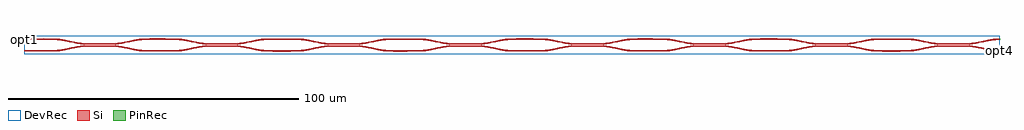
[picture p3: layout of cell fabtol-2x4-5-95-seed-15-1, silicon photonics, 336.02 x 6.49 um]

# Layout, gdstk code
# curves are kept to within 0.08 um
import gdstk
lib = gdstk.Library(unit=1e-6, precision=1e-09)
def R(c, l, rs):  # rectangles x0, y0, x1, y1
    for r in rs: c.add(gdstk.rectangle(r[:2], r[2:], *l))
def P(c, l, *ps):  # polygons
    for p in ps: c.add(gdstk.Polygon(p, *l))
Si = (1, 0)
PinRec = (1, 10)
DevRec = (68, 0)

layer_3_0_phase_sec_1_26 = lib.new_cell('layer-3_0_phase_sec_1$26')
P(layer_3_0_phase_sec_1_26, Si, [(1.45,-0.233),(0,-0.225),(0,0.225),(10,0.225),(10,-0.225)])

layer_3_0_phase_sec_0_26 = lib.new_cell('layer-3_0_phase_sec_0$26')
P(layer_3_0_phase_sec_0_26, Si, [(1.48,-0.244),(0,-0.225),(0,0.225),(10,0.225),(10,-0.225)])

layer_0_0_phase_sec_0_26 = lib.new_cell('layer-0_0_phase_sec_0$26')
P(layer_0_0_phase_sec_0_26, Si, [(1.347,-0.241),(0,-0.225),(0,0.225),(10,0.225),(10,-0.225)])

layer_2_0_phase_sec_2_26 = lib.new_cell('layer-2_0_phase_sec_2$26')
P(layer_2_0_phase_sec_2_26, Si, [(1.301,-0.245),(0,-0.225),(0,0.225),(10,0.225),(10,-0.225)])

layer_0_0_phase_sec_1_26 = lib.new_cell('layer-0_0_phase_sec_1$26')
P(layer_0_0_phase_sec_1_26, Si, [(2.4,-0.227),(0,-0.225),(0,0.225),(10,0.225),(10,-0.225)])

dc_arm_down_26 = lib.new_cell('dc_arm_down$26')
R(dc_arm_down_26, Si, [(12,-0.55,20,-0.1)])
P(dc_arm_down_26, Si, [(32,-2.225),(30.861,-2.188),(29.344,-2.033),(22.966,-0.793),(21.481,-0.613),(20,-0.55),(20,-0.1),(21.139,-0.137),(22.656,-0.292),(29.034,-1.532),(30.519,-1.712),(32,-1.775)],
  [(0,-2.225),(0,-1.775),(1.481,-1.712),(2.966,-1.532),(9.344,-0.292),(10.861,-0.137),(12,-0.1),(12,-0.55),(10.519,-0.613),(9.034,-0.793),(2.656,-2.033),(1.139,-2.188)])

dc_arm_up_26 = lib.new_cell('dc_arm_up$26')
R(dc_arm_up_26, Si, [(12,0.1,20,0.55)])
P(dc_arm_up_26, Si, [(20,0.1),(20,0.55),(21.481,0.613),(22.966,0.793),(29.344,2.033),(30.861,2.188),(32,2.225),(32,1.775),(30.519,1.712),(29.034,1.532),(22.656,0.292),(21.139,0.137)],
  [(12,0.1),(10.861,0.137),(9.344,0.292),(2.966,1.532),(1.481,1.712),(0,1.775),(0,2.225),(1.139,2.188),(2.656,2.033),(9.034,0.793),(10.519,0.613),(12,0.55)])

dc_26 = lib.new_cell('dc$26')
dc_26.add(gdstk.Reference(dc_arm_down_26, (0,0)))
dc_26.add(gdstk.Reference(dc_arm_up_26, (0,0)))

layer_0_0_phase_sec_2_26 = lib.new_cell('layer-0_0_phase_sec_2$26')
P(layer_0_0_phase_sec_2_26, Si, [(4.018,-0.244),(0,-0.225),(0,0.225),(10,0.225),(10,-0.225)])

layer_0_0_phase_sec_3_26 = lib.new_cell('layer-0_0_phase_sec_3$26')
P(layer_0_0_phase_sec_3_26, Si, [(3.383,-0.235),(0,-0.225),(0,0.225),(10,0.225),(10,-0.225)])

layer_3_0_phase_sec_3_26 = lib.new_cell('layer-3_0_phase_sec_3$26')
P(layer_3_0_phase_sec_3_26, Si, [(1.542,-0.245),(0,-0.225),(0,0.225),(10,0.225),(10,-0.225)])

layer_1_0_phase_sec_0_26 = lib.new_cell('layer-1_0_phase_sec_0$26')
P(layer_1_0_phase_sec_0_26, Si, [(6.165,-0.232),(0,-0.225),(0,0.225),(10,0.225),(10,-0.225)])

layer_1_0_phase_sec_1_26 = lib.new_cell('layer-1_0_phase_sec_1$26')
P(layer_1_0_phase_sec_1_26, Si, [(6.228,-0.246),(0,-0.225),(0,0.225),(10,0.225),(10,-0.225)])

layer_1_0_phase_sec_2_26 = lib.new_cell('layer-1_0_phase_sec_2$26')
P(layer_1_0_phase_sec_2_26, Si, [(3.175,-0.231),(0,-0.225),(0,0.225),(10,0.225),(10,-0.225)])

layer_3_0_phase_sec_2_26 = lib.new_cell('layer-3_0_phase_sec_2$26')
P(layer_3_0_phase_sec_2_26, Si, [(1.178,-0.235),(0,-0.225),(0,0.225),(10,0.225),(10,-0.225)])

layer_1_0_phase_sec_3_26 = lib.new_cell('layer-1_0_phase_sec_3$26')
P(layer_1_0_phase_sec_3_26, Si, [(2.393,-0.245),(0,-0.225),(0,0.225),(10,0.225),(10,-0.225)])

layer_2_0_phase_sec_0_26 = lib.new_cell('layer-2_0_phase_sec_0$26')
P(layer_2_0_phase_sec_0_26, Si, [(2.947,-0.241),(0,-0.225),(0,0.225),(10,0.225),(10,-0.225)])

layer_2_0_phase_sec_1_26 = lib.new_cell('layer-2_0_phase_sec_1$26')
P(layer_2_0_phase_sec_1_26, Si, [(6.172,-0.235),(0,-0.225),(0,0.225),(10,0.225),(10,-0.225)])

layer_2_0_phase_sec_3_26 = lib.new_cell('layer-2_0_phase_sec_3$26')
P(layer_2_0_phase_sec_3_26, Si, [(3.171,-0.234),(0,-0.225),(0,0.225),(10,0.225),(10,-0.225)])

fabtol_2x4_5_95_seed_15_ = lib.new_cell('fabtol-2x4-5-95-seed-15-1')
R(fabtol_2x4_5_95_seed_15_, DevRec, [(0,-1,336,5.491)])
fabtol_2x4_5_95_seed_15_.add(gdstk.FlexPath([(335.99,0.246),(336.01,0.246)], 0.45, ends="flush", simple_path=True, layer=1, datatype=10))  # PinRec
fabtol_2x4_5_95_seed_15_.add(gdstk.FlexPath([(335.99,4.246),(336.01,4.246)], 0.45, ends="flush", simple_path=True, layer=1, datatype=10))  # PinRec
fabtol_2x4_5_95_seed_15_.add(gdstk.FlexPath([(0.01,4.246),(-0.01,4.246)], 0.45, ends="flush", simple_path=True, layer=1, datatype=10))  # PinRec
fabtol_2x4_5_95_seed_15_.add(gdstk.Reference(layer_3_0_phase_sec_1_26, (252,0.246)))
fabtol_2x4_5_95_seed_15_.add(gdstk.Reference(layer_3_0_phase_sec_0_26, (252,4.246)))
fabtol_2x4_5_95_seed_15_.add(gdstk.Reference(layer_0_0_phase_sec_0_26, (0,4.246)))
fabtol_2x4_5_95_seed_15_.add(gdstk.Reference(layer_2_0_phase_sec_2_26, (210,4.246)))
fabtol_2x4_5_95_seed_15_.add(gdstk.Reference(layer_0_0_phase_sec_1_26, (0,0.246)))
fabtol_2x4_5_95_seed_15_.add(gdstk.Reference(dc_26, (10,2.246)))
fabtol_2x4_5_95_seed_15_.add(gdstk.Reference(dc_26, (52,2.246)))
fabtol_2x4_5_95_seed_15_.add(gdstk.Reference(dc_26, (94,2.246)))
fabtol_2x4_5_95_seed_15_.add(gdstk.Reference(dc_26, (136,2.246)))
fabtol_2x4_5_95_seed_15_.add(gdstk.Reference(dc_26, (178,2.246)))
fabtol_2x4_5_95_seed_15_.add(gdstk.Reference(dc_26, (220,2.246)))
fabtol_2x4_5_95_seed_15_.add(gdstk.Reference(dc_26, (262,2.246)))
fabtol_2x4_5_95_seed_15_.add(gdstk.Reference(dc_26, (304,2.246)))
fabtol_2x4_5_95_seed_15_.add(gdstk.Reference(layer_0_0_phase_sec_2_26, (42,4.246)))
fabtol_2x4_5_95_seed_15_.add(gdstk.Reference(layer_0_0_phase_sec_3_26, (42,0.246)))
fabtol_2x4_5_95_seed_15_.add(gdstk.Reference(layer_3_0_phase_sec_3_26, (294,0.246)))
fabtol_2x4_5_95_seed_15_.add(gdstk.Reference(layer_1_0_phase_sec_0_26, (84,4.246)))
fabtol_2x4_5_95_seed_15_.add(gdstk.Reference(layer_1_0_phase_sec_1_26, (84,0.246)))
fabtol_2x4_5_95_seed_15_.add(gdstk.Reference(layer_1_0_phase_sec_2_26, (126,4.246)))
fabtol_2x4_5_95_seed_15_.add(gdstk.Reference(layer_3_0_phase_sec_2_26, (294,4.246)))
fabtol_2x4_5_95_seed_15_.add(gdstk.Reference(layer_1_0_phase_sec_3_26, (126,0.246)))
fabtol_2x4_5_95_seed_15_.add(gdstk.Reference(layer_2_0_phase_sec_0_26, (168,4.246)))
fabtol_2x4_5_95_seed_15_.add(gdstk.Reference(layer_2_0_phase_sec_1_26, (168,0.246)))
fabtol_2x4_5_95_seed_15_.add(gdstk.Reference(layer_2_0_phase_sec_3_26, (210,0.246)))
fabtol_2x4_5_95_seed_15_.add(gdstk.Label('opt4', (336,0.246), layer=1, texttype=10))
fabtol_2x4_5_95_seed_15_.add(gdstk.Label('opt3', (336,4.246), layer=1, texttype=10))
fabtol_2x4_5_95_seed_15_.add(gdstk.Label('opt1', (0,4.246), layer=1, texttype=10))

lib.write_gds('fabtol-2x4-5-95-seed-15-1.gds')
